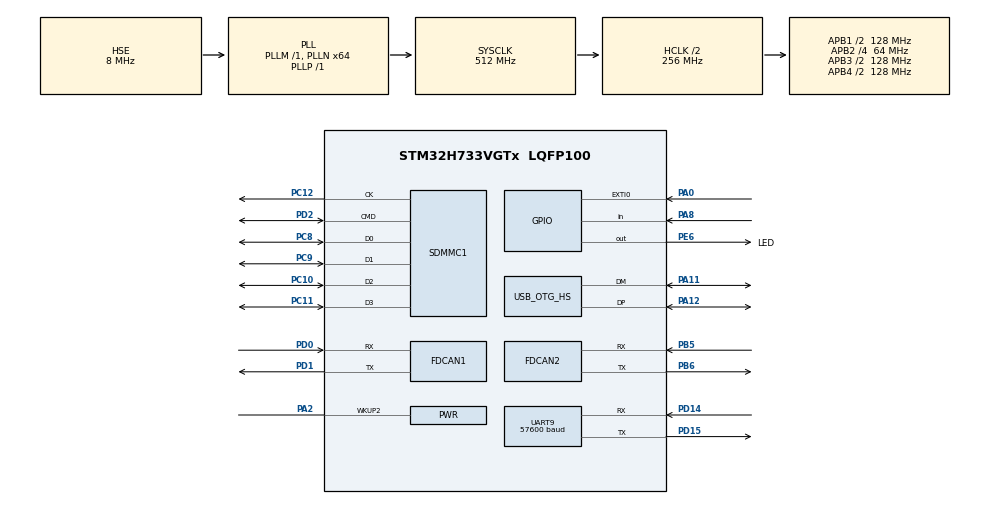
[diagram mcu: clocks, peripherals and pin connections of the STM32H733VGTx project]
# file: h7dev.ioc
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CORTEX_M7.CPU_DCache=Enabled
CORTEX_M7.CPU_ICache=Enabled
CORTEX_M7.default_mode_Activation=0
FDCAN1.CalculateBaudRateNominal=1000000
FDCAN1.CalculateTimeBitNominal=1000
FDCAN1.CalculateTimeQuantumNominal=62.5
FDCAN1.NominalPrescaler=6
FDCAN1.NominalTimeSeg1=12
FDCAN1.NominalTimeSeg2=3
FDCAN2.AutoRetransmission=ENABLE
FDCAN2.CalculateBaudRateNominal=1000000
FDCAN2.CalculateTimeBitNominal=1000
FDCAN2.CalculateTimeQuantumNominal=20.833333333333332
FDCAN2.DataSyncJumpWidth=6
FDCAN2.DataTimeSeg1=17
FDCAN2.DataTimeSeg2=6
FDCAN2.FrameFormat=FDCAN_FRAME_FD_NO_BRS
FDCAN2.NominalPrescaler=2
FDCAN2.NominalSyncJumpWidth=2
FDCAN2.NominalTimeSeg1=45
FDCAN2.ProtocolException=DISABLE
FDCAN2.RxFifo0ElmtsNbr=1
FDCAN2.RxFifo1ElmtsNbr=0
FDCAN2.StdFiltersNbr=1
FDCAN2.TxBuffersNbr=0
FDCAN2.TxEventsNbr=0
FDCAN2.TxFifoQueueElmtsNbr=1
Mcu.Family=STM32H7
Mcu.Name=STM32H733VGTx
Mcu.Package=LQFP100
NVIC.EXTI0_IRQn=true\:0\:0\:false\:false\:true\:true\:true\:true
NVIC.FDCAN2_IT0_IRQn=true\:0\:0\:false\:false\:true\:true\:true\:true
NVIC.FDCAN2_IT1_IRQn=true\:0\:0\:false\:false\:true\:true\:true\:true
NVIC.PriorityGroup=NVIC_PRIORITYGROUP_4
NVIC.SDMMC1_IRQn=true\:0\:0\:false\:false\:true\:true\:true\:true
NVIC.TIM6_DAC_IRQn=true\:15\:0\:false\:false\:true\:false\:true\:true
NVIC.TimeBase=TIM6_DAC_IRQn
NVIC.TimeBaseIP=TIM6
PA0.GPIO_ModeDefaultEXTI=GPIO_MODE_IT_FALLING
PA0.Signal=GPXTI0
PA11.Mode=Device_Only_FS
PA11.Signal=USB_OTG_HS_DM
PA12.Mode=Device_Only_FS
PA12.Signal=USB_OTG_HS_DP
PA13(JTMS/SWDIO).Mode=Trace_Asynchronous_SW
PA13(JTMS/SWDIO).Signal=DEBUG_JTMS-SWDIO
PA14(JTCK/SWCLK).Mode=Trace_Asynchronous_SW
PA14(JTCK/SWCLK).Signal=DEBUG_JTCK-SWCLK
PA2.Mode=WakeUp2
PA2.Signal=PWR_WKUP2
PA8.GPIO_PuPd=GPIO_NOPULL
PA8.Signal=GPIO_Input
PB3(JTDO/TRACESWO).Mode=Trace_Asynchronous_SW
PB3(JTDO/TRACESWO).Signal=DEBUG_JTDO-SWO
PB5.GPIO_Speed=GPIO_SPEED_FREQ_VERY_HIGH
PB5.Mode=FDCAN_Activate
PB5.Signal=FDCAN2_RX
PB6.GPIO_Speed=GPIO_SPEED_FREQ_VERY_HIGH
PB6.Mode=FDCAN_Activate
PB6.Signal=FDCAN2_TX
PC10.Mode=SD_4_bits_Wide_bus
PC10.Signal=SDMMC1_D2
PC11.Mode=SD_4_bits_Wide_bus
PC11.Signal=SDMMC1_D3
PC12.Mode=SD_4_bits_Wide_bus
PC12.Signal=SDMMC1_CK
PC8.Mode=SD_4_bits_Wide_bus
PC8.Signal=SDMMC1_D0
PC9.Mode=SD_4_bits_Wide_bus
PC9.Signal=SDMMC1_D1
PD0.GPIO_Speed=GPIO_SPEED_FREQ_VERY_HIGH
PD0.Mode=FDCAN_Activate
PD0.Signal=FDCAN1_RX
PD1.Mode=FDCAN_Activate
PD1.Signal=FDCAN1_TX
PD14.Mode=Asynchronous
PD14.Signal=UART9_RX
PD15.Mode=Asynchronous
PD15.Signal=UART9_TX
PD2.Mode=SD_4_bits_Wide_bus
PD2.Signal=SDMMC1_CMD
PE6.GPIO_Label=LED
PE6.Signal=GPIO_Output
PH0-OSC_IN.Mode=HSE-External-Oscillator
PH0-OSC_IN.Signal=RCC_OSC_IN
PH1-OSC_OUT.Mode=HSE-External-Oscillator
PH1-OSC_OUT.Signal=RCC_OSC_OUT
ProjectManager.HeapSize=0x00
ProjectManager.StackSize=0x400
ProjectManager.TargetToolchain=STM32CubeIDE
RCC.ADCFreq_Value=384000000
RCC.APB1Freq_Value=128000000
RCC.APB2Freq_Value=64000000
RCC.APB3Freq_Value=128000000
RCC.APB4Freq_Value=128000000
RCC.CortexFreq_Value=512000000
RCC.D1PPRE=RCC_APB3_DIV2
RCC.D2PPRE1=RCC_APB1_DIV2
RCC.D2PPRE2=RCC_APB2_DIV4
RCC.D3PPRE=RCC_APB4_DIV2
RCC.DIVM1=1
RCC.DIVM2=1
RCC.DIVM3=2
RCC.DIVN1=64
RCC.DIVN2=96
RCC.DIVN3=60
RCC.DIVP1=1
RCC.DIVQ1=4
RCC.DIVQ2=8
RCC.FDCANCLockSelection=RCC_FDCANCLKSOURCE_PLL2
RCC.HCLKFreq_Value=256000000
RCC.HPRE=RCC_HCLK_DIV2
RCC.HSE_VALUE=8000000
RCC.PLL2FRACN=0
RCC.PLL3FRACN=0
RCC.PLLFRACN=0
RCC.PLLSourceVirtual=RCC_PLLSOURCE_HSE
RCC.SYSCLKFreq_VALUE=512000000
RCC.SYSCLKSource=RCC_SYSCLKSOURCE_PLLCLK
RCC.USBCLockSelection=RCC_USBCLKSOURCE_PLL3
RCC.USBFreq_Value=120000000
SDMMC1.ClockDiv=9
SDMMC1.ClockEdge=SDMMC_CLOCK_EDGE_RISING
SDMMC1.HardwareFlowControl=SDMMC_HARDWARE_FLOW_CONTROL_ENABLE
UART9.BaudRate=57600
USB_OTG_HS.VirtualMode-Device_Only_FS=Device_Only_FS
VP_MEMORYMAP_VS_MEMORYMAP.Mode=CurAppReg
VP_RTC_VS_RTC_Activate.Mode=RTC_Enabled
VP_RTC_VS_RTC_Calendar.Mode=RTC_Calendar
VP_SYS_VS_tim6.Mode=TIM6
board=custom

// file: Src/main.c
/* USER CODE BEGIN Header */
/**
 ******************************************************************************
 * @file           : main.c
 * @brief          : Main program body
 ******************************************************************************
 * Copyright (c) 2023 STMicroelectronics.
 * All rights reserved.
 *
 * This software is licensed under terms that can be found in the LICENSE file
 * in the root directory of this software component.
 * If no LICENSE file comes with this software, it is provided AS-IS.
 *
 ******************************************************************************
 */
/* USER CODE END Header */
#include "main.h"

/* USER CODE BEGIN Includes */
#include <stdio.h>
#include <string.h>
#include "tasks.h"

/* USER CODE END Includes */

FDCAN_HandleTypeDef hfdcan1;
FDCAN_HandleTypeDef hfdcan2;

RTC_HandleTypeDef hrtc;

SD_HandleTypeDef hsd1;

UART_HandleTypeDef huart9;

PCD_HandleTypeDef hpcd_USB_OTG_HS;

/* USER CODE BEGIN PV */

int write_num    = 0;
int read_num     = 0;
int overflow_num = 0;
// static void callback(uint32_t i)
// {
// overflow_num++;
// BREAK_IF_DEBUGGER_CONNECTED();
// }

/* USER CODE END PV */

void        SystemClock_Config(void);
void        PeriphCommonClock_Config(void);
static void MX_GPIO_Init(void);
static void MX_FDCAN2_Init(void);
static void MX_SDMMC1_SD_Init(void);
static void MX_FDCAN1_Init(void);
static void MX_UART9_Init(void);
static void MX_RTC_Init(void);
static void MX_USB_OTG_HS_PCD_Init(void);

/* USER CODE BEGIN 0 */

// gpio PA0 interrupt callback
void HAL_GPIO_EXTI_Callback(uint16_t GPIO_Pin)
{
    if (GPIO_Pin == GPIO_PIN_0)
    {
        // CHANGE: enter standby mode on button press

        __HAL_PWR_CLEAR_FLAG(PWR_FLAG_WU);
        HAL_PWR_EnableWakeUpPin(PWR_WAKEUP_PIN2); // use PA2 as wakeup pin
        HAL_PWR_EnterSTANDBYMode();               // enter standby mode

        // LOG_ERROR("Should not reach here!");
    }
}

/* USER CODE END 0 */

int main(void)
{

    /* Enable the CPU Cache */

    /* Enable I-Cache---------------------------------------------------------*/
    SCB_EnableICache();

    /* Enable D-Cache---------------------------------------------------------*/
    SCB_EnableDCache();

    /* MCU Configuration--------------------------------------------------------*/

    /* Reset of all peripherals, Initializes the Flash interface and the Systick. */
    HAL_Init();

    /* Configure the system clock */
    SystemClock_Config();

    /* Configure the peripherals common clocks */
    PeriphCommonClock_Config();

    /* USER CODE BEGIN SysInit */
    // __HAL_RCC_PWR_CLK_ENABLE();
    if (__HAL_PWR_GET_FLAG(PWR_FLAG_SB) != RESET)
    {
        // LOG_INFO("System resumed from standby mode");
        // __HAL_PWR_CLEAR_FLAG(PWR_FLAG_SB);
    }
    else
    {
        // LOG_INFO("System started from reset");
    }

    __HAL_PWR_CLEAR_FLAG(PWR_FLAG_WU);
    // LOG_INFO("Entering standby");
    HAL_PWR_EnableWakeUpPin(PWR_WAKEUP_PIN2); // use PA2 as wakeup pin
    HAL_PWR_EnterSTANDBYMode();               // enter standby mode

    // LOG_ERROR("Should not reach here!");
    /* USER CODE END SysInit */

    /* Initialize all configured peripherals */
    MX_GPIO_Init();
    MX_FDCAN2_Init();
    MX_SDMMC1_SD_Init();
    MX_FDCAN1_Init();
    MX_UART9_Init();
    MX_RTC_Init();
    MX_USB_OTG_HS_PCD_Init();
    /* USER CODE BEGIN 2 */
    tasks_init();
    // __HAL_DBGMCU_FREEZE_IWDG();

    // hw_can_init(&can);
    // io_canQueue_init();

    // if (sd_inited)
    //{
    //   sd1.hsd     = &hsd1;
    //   sd1.timeout = osWaitForever;
    //   io_canLogging_init();
    // }

    // SEGGER_SYSVIEW_Conf();
    // LOG_INFO("h7dev reset!");
    /* USER CODE END 2 */

    /* Infinite loop */
    while (1)
    {

    }
}

void SystemClock_Config(void)
{
    RCC_OscInitTypeDef RCC_OscInitStruct = { 0 };
    RCC_ClkInitTypeDef RCC_ClkInitStruct = { 0 };

    /** Supply configuration update enable
     */
    HAL_PWREx_ConfigSupply(PWR_LDO_SUPPLY);

    /** Configure the main internal regulator output voltage
     */
    __HAL_PWR_VOLTAGESCALING_CONFIG(PWR_REGULATOR_VOLTAGE_SCALE0);

    while (!__HAL_PWR_GET_FLAG(PWR_FLAG_VOSRDY))
    {
    }

    /** Initializes the RCC Oscillators according to the specified parameters
     * in the RCC_OscInitTypeDef structure.
     */
    RCC_OscInitStruct.OscillatorType = RCC_OSCILLATORTYPE_LSI | RCC_OSCILLATORTYPE_HSE;
    RCC_OscInitStruct.HSEState       = RCC_HSE_ON;
    RCC_OscInitStruct.LSIState       = RCC_LSI_ON;
    RCC_OscInitStruct.PLL.PLLState   = RCC_PLL_ON;
    RCC_OscInitStruct.PLL.PLLSource  = RCC_PLLSOURCE_HSE;
    RCC_OscInitStruct.PLL.PLLM       = 1;
    RCC_OscInitStruct.PLL.PLLN       = 64;
    RCC_OscInitStruct.PLL.PLLP       = 1;
    RCC_OscInitStruct.PLL.PLLQ       = 4;
    RCC_OscInitStruct.PLL.PLLR       = 2;
    RCC_OscInitStruct.PLL.PLLRGE     = RCC_PLL1VCIRANGE_3;
    RCC_OscInitStruct.PLL.PLLVCOSEL  = RCC_PLL1VCOWIDE;
    RCC_OscInitStruct.PLL.PLLFRACN   = 0;
    if (HAL_RCC_OscConfig(&RCC_OscInitStruct) != HAL_OK)
    {
        Error_Handler();
    }

    /** Initializes the CPU, AHB and APB buses clocks
     */
    RCC_ClkInitStruct.ClockType = RCC_CLOCKTYPE_HCLK | RCC_CLOCKTYPE_SYSCLK | RCC_CLOCKTYPE_PCLK1 |
                                  RCC_CLOCKTYPE_PCLK2 | RCC_CLOCKTYPE_D3PCLK1 | RCC_CLOCKTYPE_D1PCLK1;
    RCC_ClkInitStruct.SYSCLKSource   = RCC_SYSCLKSOURCE_PLLCLK;
    RCC_ClkInitStruct.SYSCLKDivider  = RCC_SYSCLK_DIV1;
    RCC_ClkInitStruct.AHBCLKDivider  = RCC_HCLK_DIV2;
    RCC_ClkInitStruct.APB3CLKDivider = RCC_APB3_DIV2;
    RCC_ClkInitStruct.APB1CLKDivider = RCC_APB1_DIV2;
    RCC_ClkInitStruct.APB2CLKDivider = RCC_APB2_DIV4;
    RCC_ClkInitStruct.APB4CLKDivider = RCC_APB4_DIV2;

    if (HAL_RCC_ClockConfig(&RCC_ClkInitStruct, FLASH_LATENCY_3) != HAL_OK)
    {
        Error_Handler();
    }
}

void PeriphCommonClock_Config(void)
{
    RCC_PeriphCLKInitTypeDef PeriphClkInitStruct = { 0 };

    /** Initializes the peripherals clock
     */
    PeriphClkInitStruct.PeriphClockSelection = RCC_PERIPHCLK_FDCAN;
    PeriphClkInitStruct.PLL2.PLL2M           = 1;
    PeriphClkInitStruct.PLL2.PLL2N           = 96;
    PeriphClkInitStruct.PLL2.PLL2P           = 2;
    PeriphClkInitStruct.PLL2.PLL2Q           = 8;
    PeriphClkInitStruct.PLL2.PLL2R           = 2;
    PeriphClkInitStruct.PLL2.PLL2RGE         = RCC_PLL2VCIRANGE_3;
    PeriphClkInitStruct.PLL2.PLL2VCOSEL      = RCC_PLL2VCOWIDE;
    PeriphClkInitStruct.PLL2.PLL2FRACN       = 0;
    PeriphClkInitStruct.FdcanClockSelection  = RCC_FDCANCLKSOURCE_PLL2;
    if (HAL_RCCEx_PeriphCLKConfig(&PeriphClkInitStruct) != HAL_OK)
    {
        Error_Handler();
    }
}

static void MX_FDCAN1_Init(void)
{

    hfdcan1.Instance                  = FDCAN1;
    hfdcan1.Init.FrameFormat          = FDCAN_FRAME_CLASSIC;
    hfdcan1.Init.Mode                 = FDCAN_MODE_NORMAL;
    hfdcan1.Init.AutoRetransmission   = DISABLE;
    hfdcan1.Init.TransmitPause        = DISABLE;
    hfdcan1.Init.ProtocolException    = DISABLE;
    hfdcan1.Init.NominalPrescaler     = 6;
    hfdcan1.Init.NominalSyncJumpWidth = 1;
    hfdcan1.Init.NominalTimeSeg1      = 12;
    hfdcan1.Init.NominalTimeSeg2      = 3;
    hfdcan1.Init.DataPrescaler        = 1;
    hfdcan1.Init.DataSyncJumpWidth    = 1;
    hfdcan1.Init.DataTimeSeg1         = 1;
    hfdcan1.Init.DataTimeSeg2         = 1;
    hfdcan1.Init.MessageRAMOffset     = 0;
    hfdcan1.Init.StdFiltersNbr        = 0;
    hfdcan1.Init.ExtFiltersNbr        = 0;
    hfdcan1.Init.RxFifo0ElmtsNbr      = 0;
    hfdcan1.Init.RxFifo0ElmtSize      = FDCAN_DATA_BYTES_8;
    hfdcan1.Init.RxFifo1ElmtsNbr      = 0;
    hfdcan1.Init.RxFifo1ElmtSize      = FDCAN_DATA_BYTES_8;
    hfdcan1.Init.RxBuffersNbr         = 0;
    hfdcan1.Init.RxBufferSize         = FDCAN_DATA_BYTES_8;
    hfdcan1.Init.TxEventsNbr          = 0;
    hfdcan1.Init.TxBuffersNbr         = 0;
    hfdcan1.Init.TxFifoQueueElmtsNbr  = 0;
    hfdcan1.Init.TxFifoQueueMode      = FDCAN_TX_FIFO_OPERATION;
    hfdcan1.Init.TxElmtSize           = FDCAN_DATA_BYTES_8;
    if (HAL_FDCAN_Init(&hfdcan1) != HAL_OK)
    {
        Error_Handler();
    }
}

static void MX_FDCAN2_Init(void)
{

    hfdcan2.Instance                  = FDCAN2;
    hfdcan2.Init.FrameFormat          = FDCAN_FRAME_FD_NO_BRS;
    hfdcan2.Init.Mode                 = FDCAN_MODE_NORMAL;
    hfdcan2.Init.AutoRetransmission   = ENABLE;
    hfdcan2.Init.TransmitPause        = DISABLE;
    hfdcan2.Init.ProtocolException    = DISABLE;
    hfdcan2.Init.NominalPrescaler     = 2;
    hfdcan2.Init.NominalSyncJumpWidth = 2;
    hfdcan2.Init.NominalTimeSeg1      = 45;
    hfdcan2.Init.NominalTimeSeg2      = 2;
    hfdcan2.Init.DataPrescaler        = 1;
    hfdcan2.Init.DataSyncJumpWidth    = 6;
    hfdcan2.Init.DataTimeSeg1         = 17;
    hfdcan2.Init.DataTimeSeg2         = 6;
    hfdcan2.Init.MessageRAMOffset     = 0;
    hfdcan2.Init.StdFiltersNbr        = 1;
    hfdcan2.Init.ExtFiltersNbr        = 0;
    hfdcan2.Init.RxFifo0ElmtsNbr      = 1;
    hfdcan2.Init.RxFifo0ElmtSize      = FDCAN_DATA_BYTES_8;
    hfdcan2.Init.RxFifo1ElmtsNbr      = 0;
    hfdcan2.Init.RxFifo1ElmtSize      = FDCAN_DATA_BYTES_8;
    hfdcan2.Init.RxBuffersNbr         = 0;
    hfdcan2.Init.RxBufferSize         = FDCAN_DATA_BYTES_8;
    hfdcan2.Init.TxEventsNbr          = 0;
    hfdcan2.Init.TxBuffersNbr         = 0;
    hfdcan2.Init.TxFifoQueueElmtsNbr  = 1;
    hfdcan2.Init.TxFifoQueueMode      = FDCAN_TX_FIFO_OPERATION;
    hfdcan2.Init.TxElmtSize           = FDCAN_DATA_BYTES_8;
    if (HAL_FDCAN_Init(&hfdcan2) != HAL_OK)
    {
        Error_Handler();
    }
}

static void MX_RTC_Init(void)
{

    RTC_TimeTypeDef sTime = { 0 };
    RTC_DateTypeDef sDate = { 0 };

    /** Initialize RTC Only
     */
    hrtc.Instance            = RTC;
    hrtc.Init.HourFormat     = RTC_HOURFORMAT_24;
    hrtc.Init.AsynchPrediv   = 127;
    hrtc.Init.SynchPrediv    = 255;
    hrtc.Init.OutPut         = RTC_OUTPUT_DISABLE;
    hrtc.Init.OutPutPolarity = RTC_OUTPUT_POLARITY_HIGH;
    hrtc.Init.OutPutType     = RTC_OUTPUT_TYPE_OPENDRAIN;
    hrtc.Init.OutPutRemap    = RTC_OUTPUT_REMAP_NONE;
    if (HAL_RTC_Init(&hrtc) != HAL_OK)
    {
        Error_Handler();
    }

    /** Initialize RTC and set the Time and Date
     */
    sTime.Hours          = 0x0;
    sTime.Minutes        = 0x0;
    sTime.Seconds        = 0x0;
    sTime.DayLightSaving = RTC_DAYLIGHTSAVING_NONE;
    sTime.StoreOperation = RTC_STOREOPERATION_RESET;
    if (HAL_RTC_SetTime(&hrtc, &sTime, RTC_FORMAT_BCD) != HAL_OK)
    {
        Error_Handler();
    }
    sDate.WeekDay = RTC_WEEKDAY_MONDAY;
    sDate.Month   = RTC_MONTH_JANUARY;
    sDate.Date    = 0x1;
    sDate.Year    = 0x0;

    if (HAL_RTC_SetDate(&hrtc, &sDate, RTC_FORMAT_BCD) != HAL_OK)
    {
        Error_Handler();
    }
}

static void MX_SDMMC1_SD_Init(void)
{

    hsd1.Instance                 = SDMMC1;
    hsd1.Init.ClockEdge           = SDMMC_CLOCK_EDGE_RISING;
    hsd1.Init.ClockPowerSave      = SDMMC_CLOCK_POWER_SAVE_DISABLE;
    hsd1.Init.BusWide             = SDMMC_BUS_WIDE_4B;
    hsd1.Init.HardwareFlowControl = SDMMC_HARDWARE_FLOW_CONTROL_ENABLE;
    hsd1.Init.ClockDiv            = 9;
    if (HAL_SD_Init(&hsd1) != HAL_OK)
    {
        Error_Handler();
    }
}

static void MX_UART9_Init(void)
{

    huart9.Instance                    = UART9;
    huart9.Init.BaudRate               = 57600;
    huart9.Init.WordLength             = UART_WORDLENGTH_8B;
    huart9.Init.StopBits               = UART_STOPBITS_1;
    huart9.Init.Parity                 = UART_PARITY_NONE;
    huart9.Init.Mode                   = UART_MODE_TX_RX;
    huart9.Init.HwFlowCtl              = UART_HWCONTROL_NONE;
    huart9.Init.OverSampling           = UART_OVERSAMPLING_16;
    huart9.Init.OneBitSampling         = UART_ONE_BIT_SAMPLE_DISABLE;
    huart9.Init.ClockPrescaler         = UART_PRESCALER_DIV1;
    huart9.AdvancedInit.AdvFeatureInit = UART_ADVFEATURE_NO_INIT;
    if (HAL_UART_Init(&huart9) != HAL_OK)
    {
        Error_Handler();
    }
    if (HAL_UARTEx_SetTxFifoThreshold(&huart9, UART_TXFIFO_THRESHOLD_1_8) != HAL_OK)
    {
        Error_Handler();
    }
    if (HAL_UARTEx_SetRxFifoThreshold(&huart9, UART_RXFIFO_THRESHOLD_1_8) != HAL_OK)
    {
        Error_Handler();
    }
    if (HAL_UARTEx_DisableFifoMode(&huart9) != HAL_OK)
    {
        Error_Handler();
    }
}

static void MX_USB_OTG_HS_PCD_Init(void)
{

    hpcd_USB_OTG_HS.Instance                 = USB_OTG_HS;
    hpcd_USB_OTG_HS.Init.dev_endpoints       = 9;
    hpcd_USB_OTG_HS.Init.speed               = PCD_SPEED_FULL;
    hpcd_USB_OTG_HS.Init.dma_enable          = DISABLE;
    hpcd_USB_OTG_HS.Init.phy_itface          = USB_OTG_EMBEDDED_PHY;
    hpcd_USB_OTG_HS.Init.Sof_enable          = DISABLE;
    hpcd_USB_OTG_HS.Init.low_power_enable    = DISABLE;
    hpcd_USB_OTG_HS.Init.lpm_enable          = DISABLE;
    hpcd_USB_OTG_HS.Init.vbus_sensing_enable = DISABLE;
    hpcd_USB_OTG_HS.Init.use_dedicated_ep1   = DISABLE;
    hpcd_USB_OTG_HS.Init.use_external_vbus   = DISABLE;
    if (HAL_PCD_Init(&hpcd_USB_OTG_HS) != HAL_OK)
    {
        Error_Handler();
    }
}

static void MX_GPIO_Init(void)
{
    GPIO_InitTypeDef GPIO_InitStruct = { 0 };

    /* GPIO Ports Clock Enable */
    __HAL_RCC_GPIOE_CLK_ENABLE();
    __HAL_RCC_GPIOH_CLK_ENABLE();
    __HAL_RCC_GPIOA_CLK_ENABLE();
    __HAL_RCC_GPIOD_CLK_ENABLE();
    __HAL_RCC_GPIOC_CLK_ENABLE();
    __HAL_RCC_GPIOB_CLK_ENABLE();

    /*Configure GPIO pin Output Level */
    HAL_GPIO_WritePin(LED_GPIO_Port, LED_Pin, GPIO_PIN_RESET);

    /*Configure GPIO pin : LED_Pin */
    GPIO_InitStruct.Pin   = LED_Pin;
    GPIO_InitStruct.Mode  = GPIO_MODE_OUTPUT_PP;
    GPIO_InitStruct.Pull  = GPIO_NOPULL;
    GPIO_InitStruct.Speed = GPIO_SPEED_FREQ_LOW;
    HAL_GPIO_Init(LED_GPIO_Port, &GPIO_InitStruct);

    /*Configure GPIO pin : PA0 */
    GPIO_InitStruct.Pin  = GPIO_PIN_0;
    GPIO_InitStruct.Mode = GPIO_MODE_IT_FALLING;
    GPIO_InitStruct.Pull = GPIO_NOPULL;
    HAL_GPIO_Init(GPIOA, &GPIO_InitStruct);

    /*Configure GPIO pin : PA8 */
    GPIO_InitStruct.Pin  = GPIO_PIN_8;
    GPIO_InitStruct.Mode = GPIO_MODE_INPUT;
    GPIO_InitStruct.Pull = GPIO_NOPULL;
    HAL_GPIO_Init(GPIOA, &GPIO_InitStruct);

    /* EXTI interrupt init*/
    HAL_NVIC_SetPriority(EXTI0_IRQn, 0, 0);
    HAL_NVIC_EnableIRQ(EXTI0_IRQn);

}

void HAL_TIM_PeriodElapsedCallback(TIM_HandleTypeDef *htim)
{
    if (htim->Instance == TIM6)
    {
        HAL_IncTick();
    }
}

void Error_Handler(void)
{
    __disable_irq();
    while (1)
    {
    }
}
